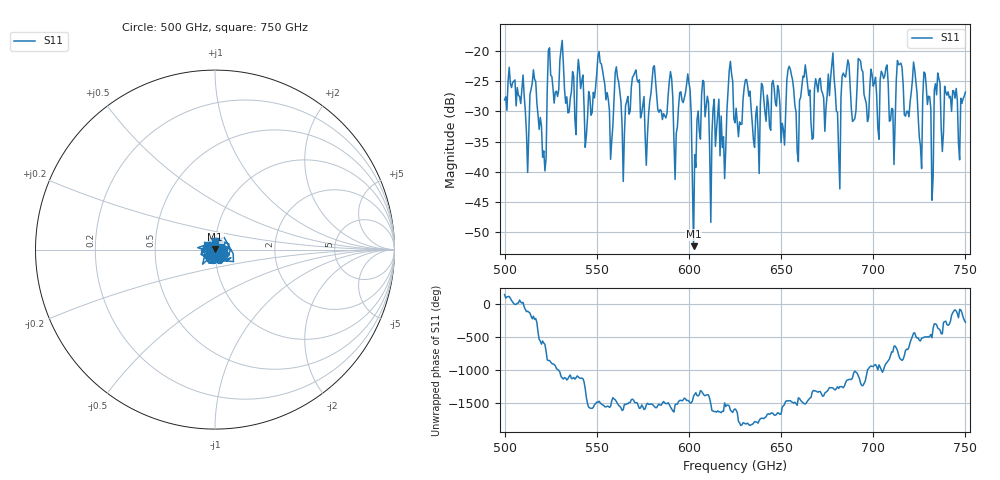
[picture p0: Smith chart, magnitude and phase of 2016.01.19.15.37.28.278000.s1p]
!Created with skrf (http://scikit-rf.org).
# GHz S RI R 50.0
!freq ReS11 ImS11
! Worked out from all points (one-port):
!   401 points, 500 GHz to 750 GHz, reference 50 ohm
!   lowest |S11| = -52.3 dB at 602.5 GHz (marker M1), VSWR 1.00, Z = 50.2 + j0.184 ohm
!   |S11| at or under -10 dB: start of sweep to end of sweep
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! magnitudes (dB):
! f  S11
! 500 GHz  -28.1
! 512.5 GHz  -40.1
! 515.6 GHz  -23.1
! 521.2 GHz  -36.5
! 524.4 GHz  -19.4
! 531.2 GHz  -18.2
! 544.4 GHz  -33.9
! 551.2 GHz  -20.0
! 557.5 GHz  -37.9
! 562.5 GHz  -26.6
! 593.8 GHz  -32.6
! 599.4 GHz  -23.8
! 602.5 GHz  -52.3
! 608.1 GHz  -25.1
! 611.9 GHz  -48.4
! 622.5 GHz  -21.7
! 625 GHz  -31.9
! 651.2 GHz  -33.0
! 656.2 GHz  -24.8
! 658.8 GHz  -36.7
! 678.1 GHz  -20.3
! 681.2 GHz  -37.0
! 687.5 GHz  -25.9
! 706.2 GHz  -24.1
! 710.6 GHz  -29.6
! 714.4 GHz  -22.2
! 718.8 GHz  -30.0
! 750 GHz  -26.8
